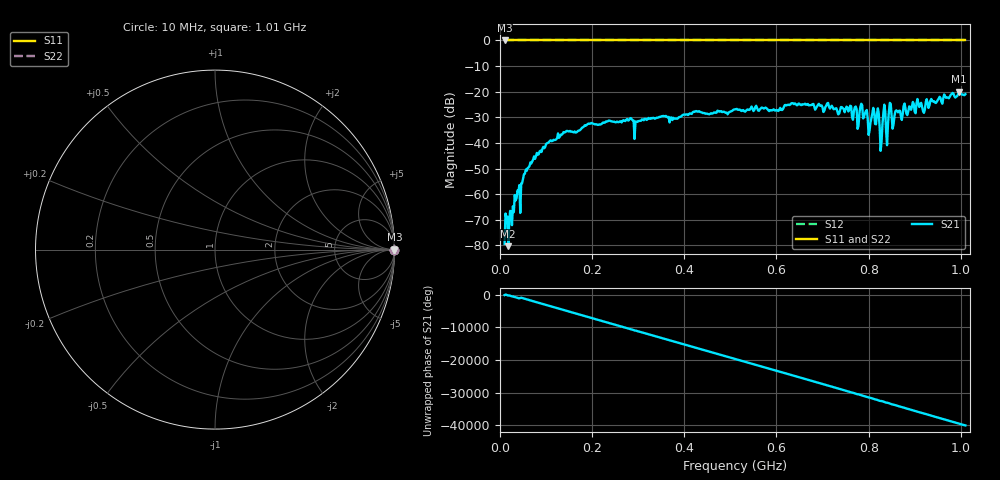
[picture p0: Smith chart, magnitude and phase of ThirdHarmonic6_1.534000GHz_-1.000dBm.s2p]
! 8/16/2025 6:10:18 PM
! C:\ANRITSUVNA\TEMP\TEMP.S2P
! CHANNEL.1
! TR.MEASUREMENT
! RAW.DATA
! RF.CORRECTION.OFF
! AVERAGING.OFF
! IF.BANDWIDTH: 5KHZ
! SWEEPTYPE:  FREQ.SWEEP(Linear)
! Reference Plane Port Info
! PORT:  PORT1  PORT2
! DISTANCE:  0  m  0  m
! TIME:  0  s  0  s
! PHASE.OFFSET:  0  deg.  0  deg.
! LOSS:  0  dB  0  dB
! REF.LOSS:  0  dB  0  dB
! REF.FREQ:  0  Hz  0  Hz
! Power Info
! POWER:  -20  dBm  -20  dBm
! EFF.POWER:  -20  dBm  -20  dBm
! SOURCE.ATTEN:  0  dB  0  dB
! TEST.ATTEN:  0  dB  0  dB
# GHZ S RI R 50.0
! FREQ.GHZ  S11RE  S11IM  S21RE  S21IM  S12RE  S12IM  S22RE  S22IM
!; PortSelection: Port_12
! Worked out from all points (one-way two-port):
!   501 points, 10 MHz to 1.01 GHz, reference 50 ohm
!   highest |S21| = -19.96 dB at 996 MHz (marker M1); lowest = -80.3 dB at 18 MHz (marker M2)
!   lowest |S11| = 0.0 dB at 10 MHz (marker M3)
!   |S11| at or under -10 dB: nowhere
!   |S22| runs from 0.0 to 0.0 dB; largest |S21 - S12| = 1.1
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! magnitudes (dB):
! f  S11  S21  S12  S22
! 10 MHz  0.0  -79.4  0.0  0.0
! 18 MHz  0.0  -80.3  0.0  0.0
! 22 MHz  0.0  -66.5  0.0  0.0
! 54 MHz  0.0  -52.0  0.0  0.0
! 76 MHz  0.0  -46.2  0.0  0.0
! 140 MHz  0.0  -35.9  0.0  0.0
! 178 MHz  0.0  -34.1  0.0  0.0
! 344 MHz  0.0  -30.1  0.0  0.0
! 510 MHz  0.0  -26.9  0.0  0.0
! 678 MHz  0.0  -24.9  0.0  0.0
! 758 MHz  0.0  -27.1  0.0  0.0
! 778 MHz  0.0  -33.4  0.0  0.0
! 784 MHz  0.0  -24.7  0.0  0.0
! 802 MHz  0.0  -35.2  0.0  0.0
! 808 MHz  0.0  -28.5  0.0  0.0
! 820 MHz  0.0  -26.5  0.0  0.0
! 826 MHz  0.0  -43.1  0.0  0.0
! 834 MHz  0.0  -25.1  0.0  0.0
! 840 MHz  0.0  -40.9  0.0  0.0
! 844 MHz  0.0  -27.8  0.0  0.0
! 996 MHz  0.0  -20.0  0.0  0.0
! 1.01 GHz  0.0  -21.0  0.0  0.0
